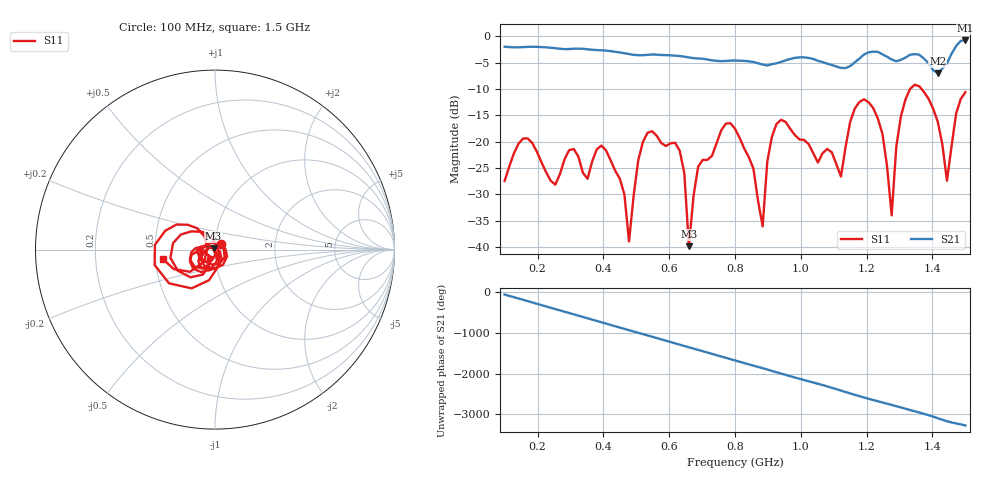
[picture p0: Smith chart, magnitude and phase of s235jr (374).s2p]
! NanoVNA-App
! Date: 2025-09-25 15:07:04
! Start: 100MHz Stop: 1,5GHz Points: 101
! S-Parameter data: F S11 S21 S12 S22
# Hz S RI R 50
!  Frequency  S11_Real  S11_Imag  S21_Real  S21_Imag  S12_Real  S12_Imag  S22_Real  S22_Imag
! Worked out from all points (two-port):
!   101 points, 100 MHz to 1.5 GHz, reference 50 ohm
!   highest |S21| = -0.78 dB at 1.5 GHz (marker M1); lowest = -7.0 dB at 1.416 GHz (marker M2)
!   |S21| within 3 dB of the highest: start of sweep to 637 MHz; 1.186 GHz to 1.259 GHz (73.2 MHz wide, 5.99 % of centre) (the widest 2 of 4)
!   lowest |S11| = -39.8 dB at 660 MHz (marker M3), VSWR 1.02, Z = 49.2 + j0.63 ohm
!   |S11| at or under -10 dB: start of sweep to 1.332 GHz; 1.367 GHz to end of sweep
!   S12 and S22 are empty: the file has one direction only
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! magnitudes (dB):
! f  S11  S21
! 100 MHz  -27.5  -2.0
! 156 MHz  -19.4  -2.0
! 338 MHz  -25.9  -2.4
! 408 MHz  -21.6  -2.7
! 478 MHz  -39.0  -3.4
! 520 MHz  -20.1  -3.6
! 576 MHz  -20.3  -3.5
! 632 MHz  -21.7  -3.7
! 660 MHz  -39.8  -4.0
! 688 MHz  -24.7  -4.2
! 800 MHz  -17.5  -4.6
! 884 MHz  -36.1  -5.4
! 926 MHz  -16.6  -5.1
! 1.038 GHz  -22.2  -4.3
! 1.122 GHz  -26.6  -6.0
! 1.206 GHz  -12.5  -3.0
! 1.276 GHz  -34.0  -4.4
! 1.29 GHz  -21.0  -4.7
! 1.332 GHz  -10.0  -3.5
! 1.416 GHz  -16.2  -7.0
! 1.444 GHz  -27.4  -5.1
! 1.5 GHz  -10.6  -0.8
